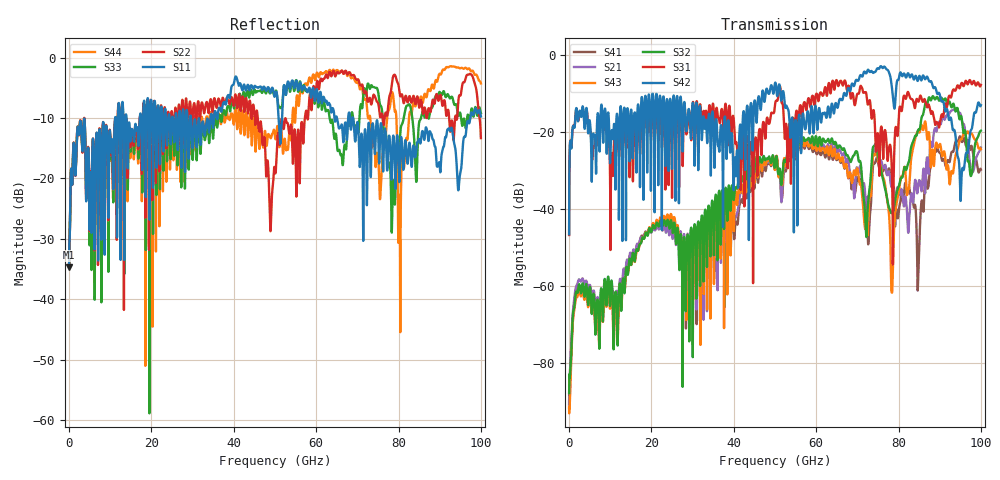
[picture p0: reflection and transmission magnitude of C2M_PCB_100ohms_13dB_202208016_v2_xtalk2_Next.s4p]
! Info: Touchstone file created by Circ.  Input file=Intel_C2M_200G_3p0in_202208016_staggered.circ
# Hz S RI R 50
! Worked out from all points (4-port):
!   10000 points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, 10 MHz to 100 GHz, reference 50 ohm
!   strongest paths, dB at 10 MHz, 25.01 GHz, 50.01 GHz, 75.01 GHz, 100 GHz:
!     S42: -46.6, -27.4, -7.2, -3.4, -13.0
!     S31: -46.8, -35.9, -12.9, -20.6, -7.7
!     S32: -87.9, -44.6, -28.9, -26.3, -19.6
!     S43: -92.0, -42.5, -29.8, -27.0, -24.4
!     S21: -89.9, -46.6, -29.0, -26.1, -24.0
!     S41: -91.7, -44.2, -29.7, -27.7, -29.7
!   lowest |S11| = -34.7 dB at 10 MHz (marker M1), VSWR 1.04, Z = 51.8 + j0.483 ohm
!   |S11| at or under -10 dB: start of sweep to 11.19 GHz; 29.61 GHz to 34.35 GHz (4.735 GHz wide, 14.8 % of centre); 68.95 GHz to 97.43 GHz (28.47 GHz wide, 34.2 % of centre)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
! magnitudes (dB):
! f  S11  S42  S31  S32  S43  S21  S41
! 10 MHz  -34.7  -46.6  -46.8  -87.9  -92.0  -89.9  -91.7
! 56.24 GHz  -4.3  -23.0  -13.1  -22.6  -24.1  -22.9  -24.8
! 74.57 GHz  -11.5  -3.9  -24.6  -23.7  -25.1  -24.6  -27.0
! 78.41 GHz  -17.6  -8.5  -31.3  -41.0  -61.8  -34.3  -33.8
! 85.19 GHz  -14.0  -5.5  -10.7  -19.1  -19.8  -32.8  -45.1
! 95.3 GHz  -17.8  -31.8  -7.2  -16.1  -21.8  -16.5  -22.3
! 100 GHz  -9.7  -13.0  -7.7  -19.6  -24.4  -24.0  -29.7
